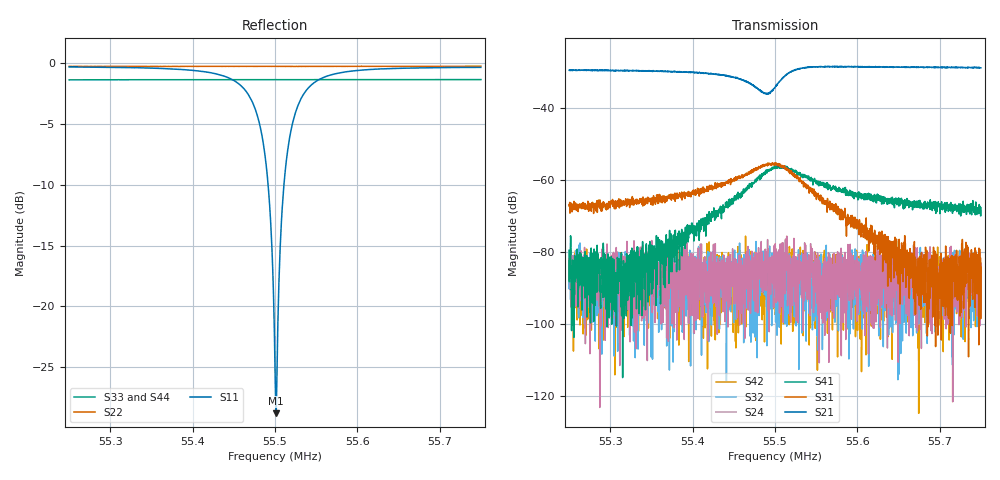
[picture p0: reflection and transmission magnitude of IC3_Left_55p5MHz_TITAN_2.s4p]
#  HZ  S  DB  R  50.00
! Rohde & Schwarz Vector Network Analyzer
! Rohde-Schwarz,ZNB8-4Port,1311601044102961,2.82
! Created: UTC 2/8/2019, 4:11:19 PM
! freq[Hz]  db:S11  ang:S11  db:S12  ang:S12  db:S13  ang:S13  db:S14  ang:S14
!  db:S21  ang:S21  db:S22  ang:S22  db:S23  ang:S23  db:S24  ang:S24
!  db:S31  ang:S31  db:S32  ang:S32  db:S33  ang:S33  db:S34  ang:S34
!  db:S41  ang:S41  db:S42  ang:S42  db:S43  ang:S43  db:S44  ang:S44
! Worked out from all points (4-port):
!   2001 points, 55.25 MHz to 55.75 MHz, reference 50 ohm
!   strongest paths, dB at 55.25 MHz, 55.375 MHz, 55.5 MHz, 55.625 MHz, 55.75 MHz:
!     S21: -29.5, -29.9, -34.3, -28.6, -28.9
!     S31: -66.9, -64.0, -55.5, -76.1, -84.2
!     S41: -79.6, -80.1, -56.9, -65.0, -67.8
!     S24: -83.1, -100.0, -86.2, -83.7, -83.1
!     S32: -85.2, -87.2, -85.3, -91.7, -83.7
!     S42: -82.0, -88.7, -85.3, -87.8, -85.6
!   lowest |S11| = -28.8 dB at 55.5012 MHz (marker M1), VSWR 1.08, Z = 51 + j3.54 ohm
!   |S11| at or under -10 dB: 55.49165 MHz to 55.51084 MHz (19.19 kHz wide, 0.0346 % of centre)
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5.525e7  -0.29 -100.6  -29.56 89.0  -67.95 -108.6  -86.82 -87.5
         -29.55 89.0  -0.25 98.7  -79.23 -107.0  -83.10 45.7
         -66.88 -119.8  -85.21 155.2  -1.36 51.5  -85.52 65.7
         -79.58 -113.7  -81.98 -133.9  -80.21 42.5  -1.34 45.4
5.537725e7  -0.47 -114.7  -30.02 80.9  -63.73 -128.6  -73.21 29.9
            -29.87 81.1  -0.26 96.5  -88.14 21.9  -101.10 167.2
            -64.06 -126.5  -91.68 73.5  -1.34 50.1  -92.27 -85.9
            -75.77 26.9  -89.64 -80.7  -88.97 86.6  -1.33 43.9
5.546625e7  -2.43 -147.2  -32.87 72.7  -58.17 -154.0  -62.47 11.9
            -32.79 71.6  -0.24 94.9  -81.26 2.3  -85.82 -166.2
            -58.67 -156.3  -83.76 50.8  -1.35 49.0  -90.37 36.5
            -62.25 17.9  -87.69 -138.1  -86.39 127.7  -1.33 42.9
5.550125e7  -28.79 72.7  -33.90 116.9  -55.63 154.4  -56.72 -39.1
            -33.78 116.9  -0.24 94.2  -87.89 -144.0  -79.26 161.8
            -55.36 153.0  -88.60 -60.5  -1.35 48.6  -78.47 87.2
            -56.51 -37.3  -82.38 107.7  -92.44 47.1  -1.33 42.4
5.5536e7  -2.41 -70.2  -28.91 102.8  -61.77 103.2  -58.43 -89.8
          -28.85 103.5  -0.24 93.6  -87.30 -78.4  -77.51 -31.5
          -60.99 102.3  -90.84 116.4  -1.34 48.2  -84.68 141.8
          -59.18 -85.4  -96.35 -66.5  -85.03 20.2  -1.33 42.0
5.56315e7  -0.45 -104.2  -28.66 84.2  -80.91 92.3  -64.99 -122.0
           -28.54 84.1  -0.25 91.9  -84.96 28.8  -83.39 154.5
           -78.63 85.0  -106.34 -161.2  -1.35 47.1  -97.25 28.7
           -65.52 -118.5  -92.22 114.3  -84.68 -23.9  -1.33 40.9
5.575e7  -0.33 -117.4  -28.85 76.2  -78.90 -160.0  -67.08 -139.2
         -28.87 76.4  -0.24 89.9  -86.15 -116.6  -83.07 65.8
         -84.23 -134.6  -83.69 -83.9  -1.34 45.7  -85.09 50.6
         -67.79 -126.0  -85.58 165.8  -91.66 101.4  -1.33 39.5
